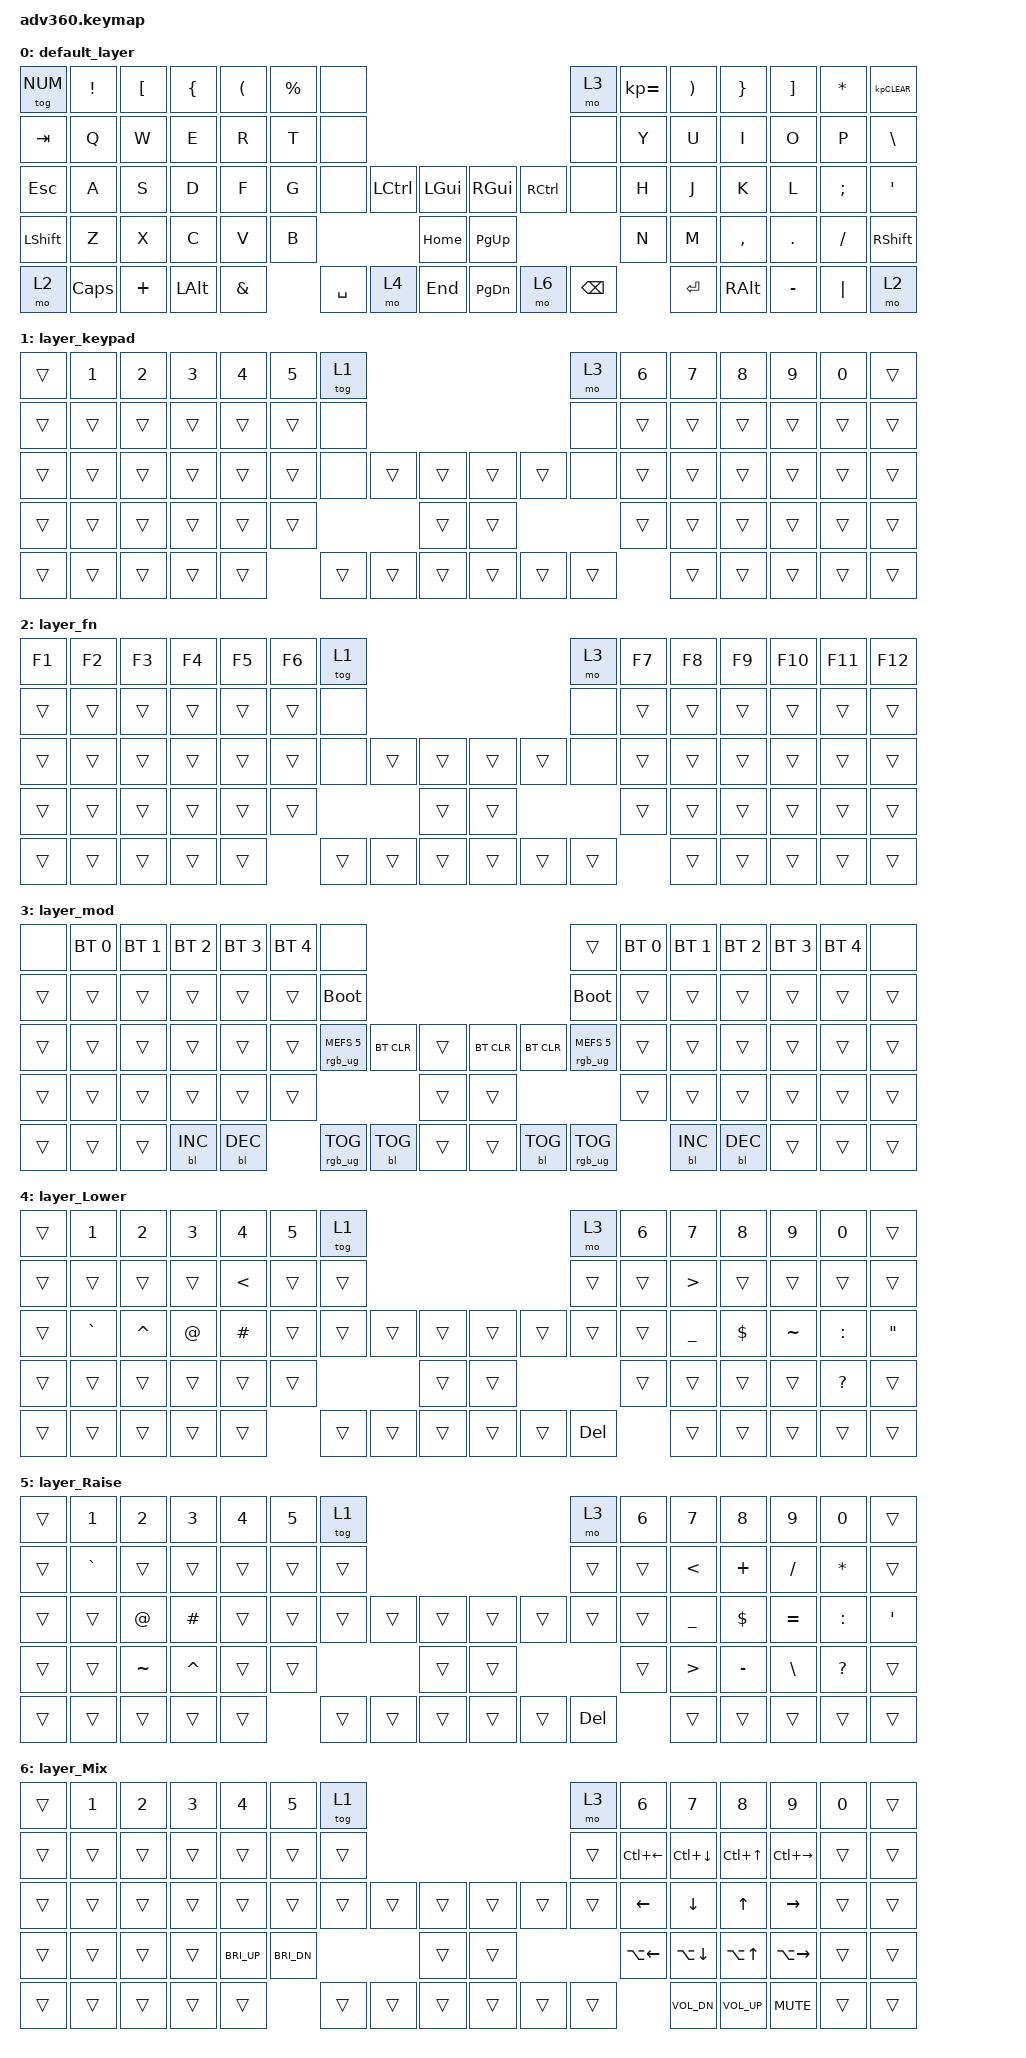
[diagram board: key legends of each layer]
#include <behaviors.dtsi>
#include <dt-bindings/zmk/keys.h>
#include <dt-bindings/zmk/bt.h>
#include <dt-bindings/zmk/rgb.h>
#include <dt-bindings/zmk/backlight.h>
  
#define DEFAULT 0
#define NUM 1
#define FN 2
#define MOD 3
#define LOWER 4
#define RAISE 5
#define MIX 6

/ {
    behaviors {
      #include "macros.dtsi"

      hm: homerow_mods {
          compatible = "zmk,behavior-hold-tap";
          label = "HOMEROW_MODS";
          #binding-cells = <2>;
          tapping-term-ms = <200>;
          quick_tap_ms = <175>;
          flavor = "tap-preferred";
          bindings = <&kp>, <&kp>;
      };
    };

    keymap {
        compatible = "zmk,keymap";

        default_layer {
            bindings = <
            // |-------------------+-------------------+-------------------+-------------------+-------------------+-------------------+-------------------|-------------------+-------------------+-------------------+-------------------|-------------------+-------------------+-------------------+-------------------+-------------------+-------------------+-------------------|
                &tog NUM            &kp EXCL            &kp LBKT            &kp LBRC            &kp LPAR            &kp PRCNT           &none                                                                                               &mo 3               &kp KP_EQUAL        &kp RPAR            &kp RBRC            &kp RBKT            &kp STAR            &kp KP_CLEAR
                &kp TAB             &kp Q               &kp W               &kp E               &kp R               &kp T               &none                                                                                               &none               &kp Y               &kp U               &kp I               &kp O               &kp P               &kp BSLH
                &kp ESC             &kp A               &kp S               &kp D               &kp F               &kp G               &none               &kp LCTRL           &kp LGUI            &kp RGUI            &kp RCTRL           &none               &kp H               &kp J               &kp K               &kp L               &kp SEMI            &kp SQT
                &kp LSHFT           &kp Z               &kp X               &kp C               &kp V               &kp B                                                       &kp HOME            &kp PG_UP                                                   &kp N               &kp M               &kp COMMA           &kp DOT             &kp FSLH            &kp RSHFT
                &mo 2               &kp CAPS            &kp PLUS            &kp LALT            &kp AMPS                                &kp SPACE           &mo 4               &kp END             &kp PG_DN           &mo 6               &kp BSPC                                &kp ENTER           &kp RALT            &kp MINUS           &kp PIPE            &mo 2
            // |-------------------+-------------------+-------------------+-------------------+-------------------+-------------------+-------------------|-------------------+-------------------+-------------------+-------------------|-------------------+-------------------+-------------------+-------------------+-------------------+-------------------+-------------------|
            >;
        };

        layer_keypad {
            bindings = <
            // |-------------------+-------------------+-------------------+-------------------+-------------------+-------------------+-------------------+-------------------+-------------------+-------------------+-------------------+-------------------+-------------------+-------------------+-------------------+-------------------+-------------------+-------------------|
                &trans              &kp N1              &kp N2              &kp N3              &kp N4              &kp N5              &tog 1                                                                                              &mo 3               &kp N6              &kp N7              &kp N8              &kp N9              &kp N0              &trans
                &trans              &trans              &trans              &trans              &trans              &trans              &none                                                                                                   &none           &trans          &trans          &trans          &trans          &trans          &trans
                &trans              &trans              &trans              &trans              &trans              &trans              &none           &trans          &trans                                  &trans          &trans          &none           &trans          &trans          &trans          &trans          &trans          &trans
                &trans              &trans              &trans              &trans              &trans              &trans                                              &trans                                  &trans                                          &trans          &trans          &trans          &trans          &trans          &trans
                &trans              &trans              &trans              &trans              &trans                                  &trans          &trans          &trans                                  &trans          &trans          &trans                          &trans          &trans          &trans          &trans          &trans
            // |-------------------+-------------------+-------------------+-------------------+-------------------+-------------------+-------------------+-------------------+-------------------+-------------------+-------------------+-------------------+-------------------+-------------------+-------------------+-------------------+-------------------+-------------------|
            >;
        };

        layer_fn {
            bindings = <
            // |-------------------+-------------------+-------------------+-------------------+-------------------+-------------------+-------------------|-----------------------------------------------------------------------------------------------------------------------|-------------------+-------------------+-------------------+-------------------+-------------------+-------------------+-------------------|
                &kp F1  &kp F2  &kp F3  &kp F4  &kp F5  &kp F6            &tog 1   &mo 3  &kp F7  &kp F8  &kp F9  &kp F10  &kp F11  &kp F12
                &trans              &trans              &trans              &trans              &trans              &trans              &none                                                                                                   &none           &trans          &trans          &trans          &trans          &trans          &trans
                &trans              &trans              &trans              &trans              &trans              &trans              &none           &trans          &trans                                  &trans          &trans          &none           &trans          &trans          &trans          &trans          &trans          &trans
                &trans              &trans              &trans              &trans              &trans              &trans                                              &trans                                  &trans                                          &trans          &trans          &trans          &trans          &trans          &trans
                &trans              &trans              &trans              &trans              &trans                                  &trans          &trans          &trans                                  &trans          &trans          &trans                          &trans          &trans          &trans          &trans          &trans
            // |-------------------+-------------------+-------------------+-------------------+-------------------+-------------------+-------------------|-----------------------------------------------------------------------------------------------------------------------|-------------------+-------------------+-------------------+-------------------+-------------------+-------------------+-------------------|
            >;
        };

// Layer 3
        layer_mod {
            bindings = <
            // |-------------------+-------------------+-------------------+-------------------+-------------------+-------------------+-------------------|-----------------------------------------------------------------------------------------------------------------------|-------------------+-------------------+-------------------+-------------------+-------------------+-------------------+-------------------|
                &none               &bt BT_SEL 0        &bt BT_SEL 1        &bt BT_SEL 2        &bt BT_SEL 3        &bt BT_SEL 4        &none                                                                                                           &trans                  &bt BT_SEL 0    &bt BT_SEL 1    &bt BT_SEL 2    &bt BT_SEL 3    &bt BT_SEL 4    &none
                &trans              &trans              &trans              &trans              &trans              &trans              &bootloader                                                                                                           &bootloader             &trans          &trans          &trans          &trans          &trans          &trans
                &trans              &trans              &trans              &trans              &trans              &trans              &rgb_ug RGB_MEFS_CMD 5  &bt BT_CLR      &trans                                  &bt BT_CLR      &bt BT_CLR      &rgb_ug RGB_MEFS_CMD 5  &trans          &trans          &trans          &trans          &trans          &trans
                &trans              &trans              &trans              &trans              &trans              &trans                                                      &trans                                  &trans                                                  &trans          &trans          &trans          &trans          &trans          &trans
                &trans              &trans              &trans              &bl BL_INC          &bl BL_DEC                              &rgb_ug RGB_TOG         &bl BL_TOG      &trans                                  &trans          &bl BL_TOG      &rgb_ug RGB_TOG                         &bl BL_INC      &bl BL_DEC          &trans          &trans          &trans
            // |-------------------+-------------------+-------------------+-------------------+-------------------+-------------------+-------------------|-----------------------------------------------------------------------------------------------------------------------|-------------------+-------------------+-------------------+-------------------+-------------------+-------------------+-------------------|
            >;
        };

// Layer 4 or mo 4
        layer_Lower {
            bindings = <
            // |-------------------+-------------------+-------------------+-------------------+-------------------+-------------------+-------------------|-----------------------------------------------------------------------------------------------------------------------|-------------------+-------------------+-------------------+-------------------+-------------------+-------------------+-------------------|
                &trans              &kp N1              &kp N2              &kp N3              &kp N4              &kp N5              &tog 1                                                                                              &mo 3               &kp N6              &kp N7              &kp N8              &kp N9              &kp N0              &trans
                &trans              &trans              &trans              &trans              &kp LT              &trans              &trans                                                                                                                                      &trans              &trans              &kp GT              &trans              &trans              &trans              &trans
                &trans              &kp GRAVE           &kp CARET           &kp AT              &kp HASH            &trans              &trans              &trans          &trans                              &trans          &trans                                              &trans              &trans              &kp UNDER           &kp DLLR            &kp TILDE           &kp COLON           &kp DQT
                &trans              &trans              &trans              &trans              &trans              &trans                                                  &trans                              &trans                                                                                  &trans              &trans              &trans              &trans              &kp QMARK           &trans
                &trans              &trans              &trans              &trans              &trans                                  &trans              &trans          &trans                              &trans          &trans                                              &kp DEL                                 &trans              &trans              &trans              &trans              &trans
            // |-------------------+-------------------+-------------------+-------------------+-------------------+-------------------+-------------------|-----------------------------------------------------------------------------------------------------------------------|-------------------+-------------------+-------------------+-------------------+-------------------+-------------------+-------------------|
            >;
        };
// Layer 5 or mo 5
        layer_Raise {
            bindings = <
            // |-------------------+-------------------+-------------------+-------------------+-------------------+-------------------+-------------------|-----------------------------------------------------------------------------------------------------------------------|-------------------+-------------------+-------------------+-------------------+-------------------+-------------------+-------------------|
                &trans              &kp N1              &kp N2              &kp N3              &kp N4              &kp N5              &tog 1                                                                                              &mo 3               &kp N6              &kp N7              &kp N8              &kp N9              &kp N0              &trans
                &trans              &kp GRAVE       &trans          &trans          &trans          &trans          &trans                                                                                              &trans          &trans          &kp LT          &kp PLUS        &kp FSLH        &kp STAR        &trans
                &trans              &trans          &kp AT          &kp HASH        &trans          &trans          &trans          &trans          &trans                              &trans          &trans          &trans          &trans          &kp UNDER       &kp DLLR        &kp EQUAL       &kp COLON       &kp SQT
                &trans              &trans          &kp TILDE       &kp CARET       &trans          &trans                                          &trans                              &trans                                          &trans          &kp GT          &kp MINUS       &kp BSLH        &kp QMARK       &trans
                &trans              &trans          &trans          &trans          &trans                          &trans          &trans          &trans                              &trans          &trans          &kp DEL                         &trans          &trans          &trans          &trans          &trans
            // |-------------------+-------------------+-------------------+-------------------+-------------------+-------------------+-------------------|-----------------------------------------------------------------------------------------------------------------------|-------------------+-------------------+-------------------+-------------------+-------------------+-------------------+-------------------|
            >;
        };
// Layer 6 or mo 6
        layer_Mix {
            bindings = < 
            // |-------------------+-------------------+-------------------+-------------------+-------------------+-------------------+-------------------|-----------------------------------------------------------------------------------------------------------------------|-------------------+-------------------+-------------------+-------------------+-------------------+-------------------+-------------------|
                &trans              &kp N1              &kp N2              &kp N3              &kp N4              &kp N5              &tog 1                                                                                                                                      &mo 3               &kp N6              &kp N7              &kp N8              &kp N9              &kp N0              &trans
                &trans              &trans              &trans              &trans              &trans              &trans              &trans                                                                                                                                      &trans              &kp LC(LEFT)        &kp LC(DOWN)        &kp LC(UP)          &kp LC(RIGHT)       &trans              &trans
                &trans              &trans              &trans              &trans              &trans              &trans              &trans              &trans          &trans                              &trans          &trans                                              &trans              &kp LEFT            &kp DOWN            &kp UP              &kp RIGHT           &trans              &trans
                &trans              &trans              &trans              &trans              &kp C_BRI_UP        &kp C_BRI_DN                                            &trans                              &trans                                                                                  &kp LA(LEFT)        &kp LA(DOWN)        &kp LA(UP)          &kp LA(RIGHT)       &trans              &trans
                &trans              &trans              &trans              &trans              &trans                                  &trans              &trans          &trans                              &trans          &trans                                              &trans                                  &kp C_VOL_DN        &kp C_VOL_UP        &kp C_MUTE          &trans              &trans
            // |-------------------+-------------------+-------------------+-------------------+-------------------+-------------------+-------------------|-----------------------------------------------------------------------------------------------------------------------|-------------------+-------------------+-------------------+-------------------+-------------------+-------------------+-------------------|
            >;
        };
    };
};

